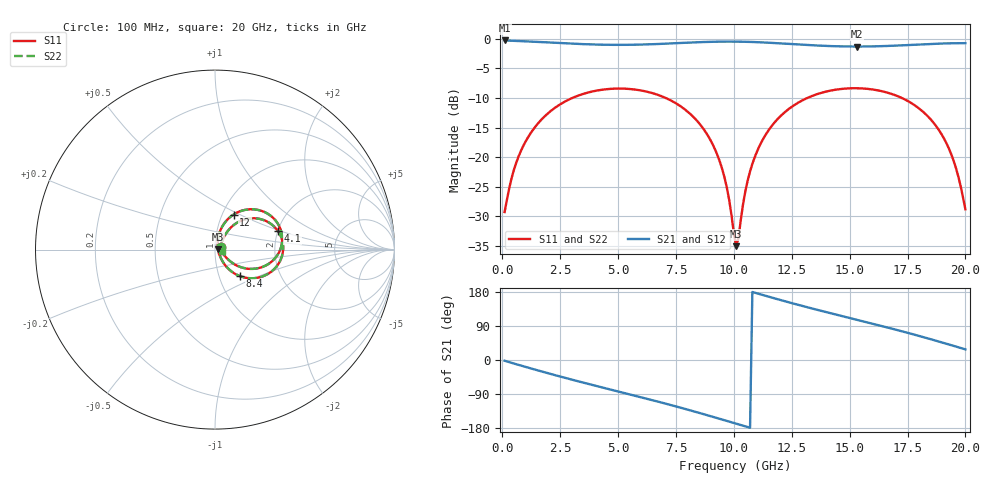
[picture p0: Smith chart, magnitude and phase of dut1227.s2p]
! Touchstone file exported from HFSS 2026.1.0
!  File:  C:/ffzhzh/LocalFiles/Ansys_Project_Files/temp_train_TSV_RDL_1227_1783321954_5512.aedt
!  Generated:  03:28:41 PM Jul  6, 2026
!  Design:  TSV_RDL
!  Project:  temp_train_TSV_RDL_1227_1783321954_5512
! Variables:
!  h_bsmrdl = 2.83um
!  h_ox = 20um
!  h_rdl = 5um
!  h_sub = 97.69um
!  h_tmrdl = 2.33um
!  h_tsv = 97.69um
!  h_via = 3um
!  l_bsmrdl = 795.21um
!  l_sub = 5311.84um
!  l_tmrdl = 597um
!  m_sub = 200um
!  pitch = 40.32um
!  r_tsv = 10.18um
!  s_tmrdl = 10um
!  w_bsmrdl = 27.2um
!  w_sub = 500um
!  w_tmrdl = 18.87um
!  x_tsv_center1 = 606.435um
!  x_tsv_center2 = 1428.845um
!  x_tsv_center3 = 2044.715um
!  x_tsv_center4 = 2867.125um
!  x_tsv_center5 = 3482.995um
!  x_tsv_center6 = 4305.405um
# GHz S MA R 50.000000
! Terminal data exported
! Port[1] = TM_RDL1_1_T1
! Port[2] = TM_RDL5_1_T1
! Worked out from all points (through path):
!   200 points, 100 MHz to 20 GHz, reference 50 ohm
!   highest |S21| = -0.27 dB at 100 MHz (marker M1); lowest = -1.3 dB at 15.3 GHz (marker M2)
!   group delay of S21, straight-line fit = 45.8 ps
!   lowest |S11| = -35.0 dB at 10.1 GHz (marker M3), VSWR 1.04, Z = 51.8 + j0.118 ohm
!   |S11| at or under -10 dB: start of sweep to 3.018 GHz; 7.064 GHz to 13.17 GHz (6.104 GHz wide, 60.3 % of centre); 17.26 GHz to end of sweep
!   |S22| runs from -34.7 to -8.3 dB; largest |S21 - S12| = 1.7e-14
!   S11 on the Smith chart (normalised r, x): 100 MHz: 1.06, +0.03; 4.1 GHz: 2.01, +0.47; 8.4 GHz: 1.26, -0.39; 12 GHz: 1.13, +0.46; 20 GHz: 1.07, -0.01
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0.1  0.03445 24.2  0.9689 -1.9  0.9689 -1.9  0.03445 24.2
! Gamma 0 0 0 0
! Port Impedance 50 0 50 0
0.6  0.08957 54.7  0.9599 -11.1  0.9599 -11.1  0.08957 54.7
1.2  0.157 53.9  0.9488 -21.6  0.9488 -21.6  0.157 53.9
2.2  0.2551 42.7  0.9278 -38.7  0.9278 -38.7  0.2551 42.7
3.5  0.3429 24.7  0.9021 -59.7  0.9021 -59.7  0.3429 24.7
4.1  0.3662 16.2  0.8941 -69.1  0.8941 -69.1  0.3661 16.2
6.8  0.332 -22.8  0.9057 -111.0  0.9057 -111.0  0.3319 -22.7
8.4  0.2041 -46.6  0.9353 -137.7  0.9353 -137.7  0.2041 -46.5
9  0.1384 -54.5  0.9436 -148.3  0.9436 -148.3  0.1384 -54.2
9.5  0.07911 -57.5  0.9475 -157.2  0.9475 -157.2  0.07918 -57.1
9.8  0.04339 -51.7  0.9481 -162.6  0.9481 -162.6  0.04358 -50.9
10.1  0.01774 3.7  0.9474 -168.0  0.9474 -168.0  0.01835 4.1
10.5  0.05195 72.3  0.9443 -175.2  0.9443 -175.2  0.05222 71.6
10.8  0.08786 75.3  0.9405 179.5  0.9405 179.5  0.08804 75.0
12  0.221 62.1  0.9157 158.5  0.9157 158.5  0.2211 62.0
13.4  0.3304 41.6  0.8821 135.6  0.8821 135.6  0.3304 41.6
15.3  0.3826 14.5  0.8607 106.3  0.8607 106.3  0.3825 14.4
16.7  0.3481 -5.4  0.8716 84.7  0.8716 84.7  0.348 -5.4
18  0.2581 -23.9  0.8956 63.5  0.8956 63.5  0.258 -23.8
18.9  0.1646 -35.1  0.9116 47.9  0.9116 47.9  0.1645 -34.9
19.5  0.09232 -37.2  0.918 37.1  0.918 37.1  0.09243 -36.7
20  0.0363 -10.5  0.9193 28.0  0.9193 28.0  0.03697 -9.4
